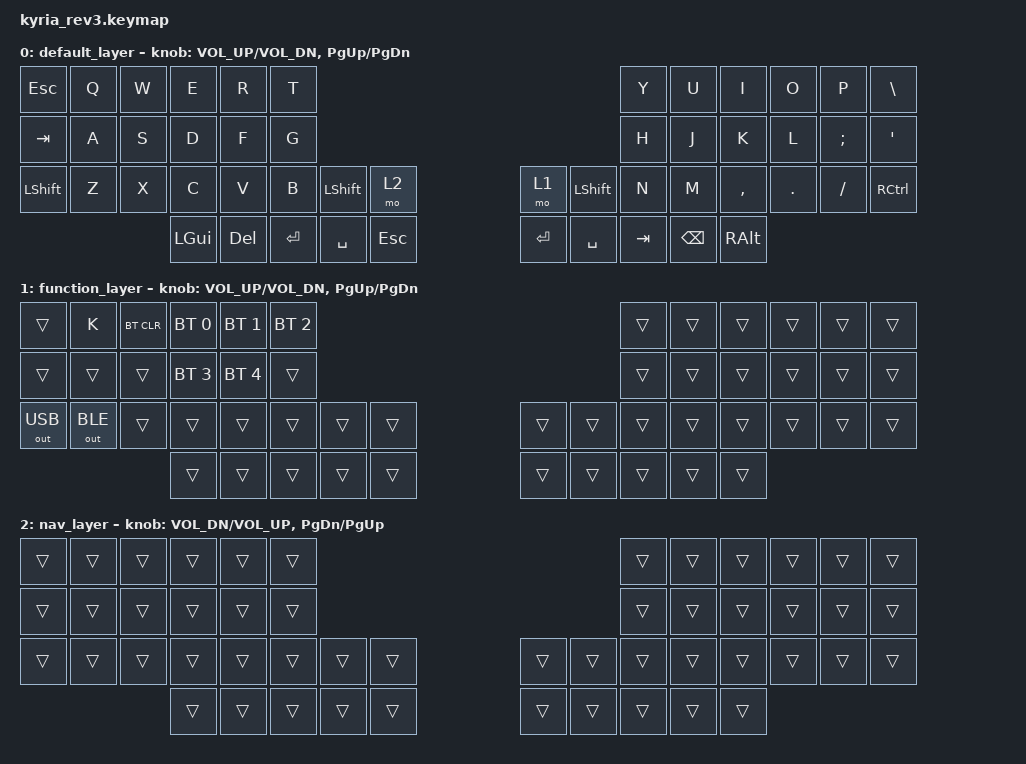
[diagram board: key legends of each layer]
/*
 * Copyright (c) 2023 The ZMK Contributors
 *
 * SPDX-License-Identifier: MIT
 */

#include <behaviors.dtsi>
#include <dt-bindings/zmk/bt.h>
#include <dt-bindings/zmk/keys.h>
#include <dt-bindings/zmk/outputs.h>

/* Uncomment this block if using RGB
&led_strip {
    chain-length = <6>;
    // chain-length = <31>; // Uncomment if using both per-key and underglow LEDs
    // chain-length = <25>; // Uncomment if using only per-key LEDs.
};
 */

/ {
    keymap {
        compatible = "zmk,keymap";

        default_layer {
            // ---------------------------------------------------------------------------------------------------------------------------------
            // |  ESC  |  Q  |  W  |  E   |  R   |  T   |                                          |  Y   |  U    |  I    |  O   |   P   |   \  |
            // |  TAB  |  A  |  S  |  D   |  F   |  G   |                                          |  H   |  J    |  K    |  L   |   ;   |   '  |
            // | SHIFT |  Z  |  X  |  C   |  V   |  B   | L SHIFT | LAYER 2 |  | LAYER 1 | L SHIFT |  N   |  M    |  ,    |  .   |   /   | CTRL |
            //                     | GUI  | DEL  | RET  |  SPACE  |   ESC   |  |   RET   |  SPACE  | TAB  | BSPC  | R-ALT |
            bindings = <
            &kp ESC   &kp Q &kp W &kp E &kp R &kp T                                                  &kp Y &kp U  &kp I     &kp O   &kp P    &kp BSLH
            &kp TAB   &kp A &kp S &kp D &kp F &kp G                                                  &kp H &kp J  &kp K     &kp L   &kp SEMI &kp SQT
            &kp LSHFT &kp Z &kp X &kp C &kp V &kp B &kp LSHFT &mo 2                &mo 1   &kp LSHFT &kp N &kp M  &kp COMMA &kp DOT &kp FSLH &kp RCTRL
                                  &kp LGUI &kp DEL &kp RET &kp SPACE &kp ESC       &kp RET &kp SPACE &kp TAB &kp BSPC &kp RALT
            >;

            sensor-bindings = <&inc_dec_kp C_VOL_UP C_VOL_DN &inc_dec_kp PG_UP PG_DN>;
        };
        function_layer {
            // ---------------------------------------------------------------------------------------------------------------------------------
            // |       |   K  |BT_CLR|BTSEL0|BTSEL1|BTSEL2|                                         |      |      |      |      |      |      |
            // |       |      |      |BTSEL3|BTSEL4|      |                                         |      |      |      |      |      |      |
            // | USB   | BT   |      |      |      |      |      |      |      |      |      |      |      |      |      |      |      |      |
            //                       |      |      |      |      |      |      |      |      |      |      |      |      |
            bindings = <
            &trans &kp K  &bt BT_CLR &bt BT_SEL 0 &bt BT_SEL 1 &bt BT_SEL 2              &trans &trans &trans &trans &trans &trans
            &trans &trans &trans     &bt BT_SEL 3 &bt BT_SEL 4 &trans                    &trans &trans &trans &trans &trans &trans
            &out OUT_USB &out OUT_BLE &trans &trans &trans &trans &trans &trans        &trans &trans &trans &trans &trans &trans &trans &trans
                                 &trans &trans &trans &trans &trans        &trans &trans &trans &trans &trans
            >;

            sensor-bindings = <&inc_dec_kp C_VOL_UP C_VOL_DN &inc_dec_kp PG_UP PG_DN>;
        };
        nav_layer {
            // ---------------------------------------------------------------------------------------------------------------------------------
            // |       |      |      |      |      |      |                                         |      |      |      |      |      |      |
            // |       |      |      |      |      |      |                                         |      |      |      |      |      |      |
            // |       |      |      |      |      |      |      |      |      |      |      |      |      |      |      |      |      |      |
            //                       |      |      |      |      |      |      |      |      |      |      |      |      |
            bindings = <
            &trans &trans &trans &trans &trans &trans                                  &trans &trans &trans &trans &trans &trans
            &trans &trans &trans &trans &trans &trans                                  &trans &trans &trans &trans &trans &trans
            &trans &trans &trans &trans &trans &trans &trans &trans      &trans &trans &trans &trans &trans &trans &trans &trans
                                  &trans &trans &trans &trans &trans      &trans &trans &trans &trans &trans
            >;

            sensor-bindings = <&inc_dec_kp C_VOL_DN C_VOL_UP &inc_dec_kp PG_DN PG_UP>;
        };
    };
};
